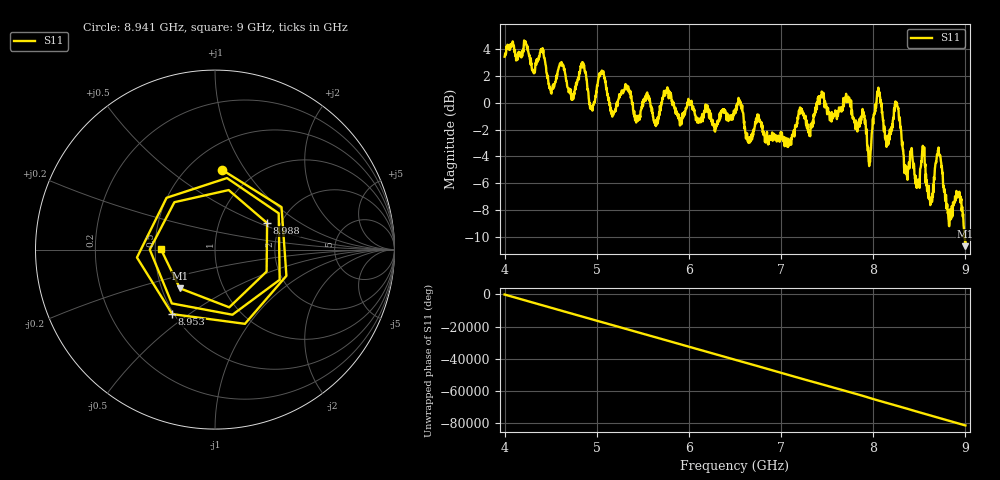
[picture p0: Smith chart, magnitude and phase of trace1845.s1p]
! Created with skrf 1.8.0 (http://scikit-rf.org).
# Hz S RI R 50.0
!freq ReS11 ImS11
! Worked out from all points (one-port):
!   1601 points, 4 GHz to 9 GHz, reference 50 ohm
!   lowest |S11| = -10.7 dB at 8.997 GHz (marker M1), VSWR 1.82, Z = 31 - j14.6 ohm
!   |S11| at or under -10 dB: 8.990141 GHz to 8.991617 GHz (1.476 MHz wide, 0.0164 % of centre); 8.995083 GHz to end of sweep
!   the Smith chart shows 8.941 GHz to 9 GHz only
!   S11 on the Smith chart (normalised r, x): 8.941 GHz: 0.72, +0.79; 8.953 GHz: 0.49, -0.43; 8.988 GHz: 1.70, +0.56; 9 GHz: 0.54, +0.00
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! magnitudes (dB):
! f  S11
! 4 GHz  3.4
! 4.406 GHz  3.9
! 4.509 GHz  0.7
! 4.625 GHz  2.8
! 4.731 GHz  0.5
! 4.853 GHz  3.0
! 4.941 GHz  -0.4
! 5.05 GHz  2.3
! 5.172 GHz  -0.8
! 5.25 GHz  0.6
! 5.875 GHz  -0.9
! 6.5 GHz  -0.8
! 7.125 GHz  -2.4
! 7.75 GHz  -0.2
! 7.956 GHz  -4.7
! 8.05 GHz  0.6
! 8.15 GHz  -2.9
! 8.25 GHz  0.0
! 8.375 GHz  -5.2
! 8.541 GHz  -3.9
! 8.622 GHz  -7.5
! 8.712 GHz  -3.7
! 8.819 GHz  -8.8
! 8.941 GHz  -7.0
! 8.953 GHz  -7.3
! 8.988 GHz  -9.7
! 8.997 GHz  -10.7
! 9 GHz  -10.4
